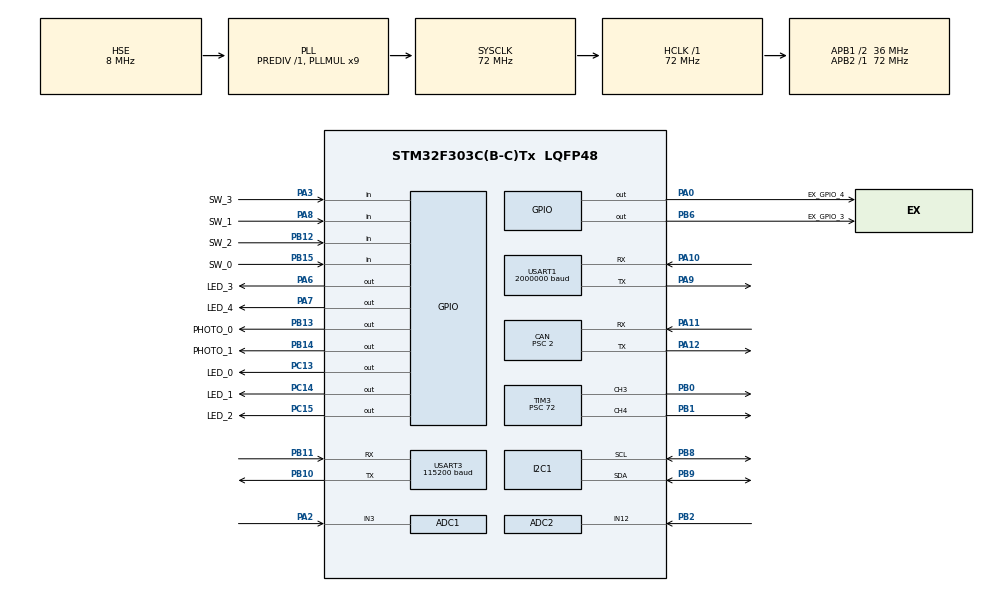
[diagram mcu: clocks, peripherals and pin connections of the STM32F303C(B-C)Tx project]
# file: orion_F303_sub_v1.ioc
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ADC1.Channel-0\#ChannelRegularConversion=ADC_CHANNEL_3
ADC1.ContinuousConvMode=ENABLE
ADC1.NbrOfConversionFlag=1
ADC1.Offset-0\#ChannelRegularConversion=0
ADC1.OffsetNumber-0\#ChannelRegularConversion=ADC_OFFSET_NONE
ADC1.Rank-0\#ChannelRegularConversion=1
ADC1.SamplingTime-0\#ChannelRegularConversion=ADC_SAMPLETIME_181CYCLES_5
ADC1.SamplingTimeOPAMP-0\#ChannelRegularConversion=ADC_SAMPLETIME_61CYCLES_5
ADC1.master=1
ADC2.Channel-0\#ChannelRegularConversion=ADC_CHANNEL_12
ADC2.ContinuousConvMode=ENABLE
ADC2.NbrOfConversionFlag=1
ADC2.Offset-0\#ChannelRegularConversion=0
ADC2.OffsetNumber-0\#ChannelRegularConversion=ADC_OFFSET_NONE
ADC2.Rank-0\#ChannelRegularConversion=1
ADC2.SamplingTime-0\#ChannelRegularConversion=ADC_SAMPLETIME_181CYCLES_5
ADC2.SamplingTimeOPAMP-0\#ChannelRegularConversion=ADC_SAMPLETIME_61CYCLES_5
CAN.BS1=CAN_BS1_9TQ
CAN.BS2=CAN_BS2_8TQ
CAN.CalculateBaudRate=1000000
CAN.CalculateTimeBit=1000
CAN.CalculateTimeQuantum=55.55555555555556
CAN.NART=ENABLE
CAN.Prescaler=2
Dma.Request0=USART1_TX
Dma.USART1_TX.0.Direction=DMA_MEMORY_TO_PERIPH
Dma.USART1_TX.0.Instance=DMA1_Channel4
Dma.USART1_TX.0.MemDataAlignment=DMA_MDATAALIGN_BYTE
Dma.USART1_TX.0.MemInc=DMA_MINC_ENABLE
Dma.USART1_TX.0.Mode=DMA_NORMAL
Dma.USART1_TX.0.PeriphDataAlignment=DMA_PDATAALIGN_BYTE
Dma.USART1_TX.0.PeriphInc=DMA_PINC_DISABLE
Dma.USART1_TX.0.Priority=DMA_PRIORITY_LOW
Mcu.Family=STM32F3
Mcu.Name=STM32F303C(B-C)Tx
Mcu.Package=LQFP48
NVIC.DMA1_Channel4_IRQn=true\:0\:0\:false\:false\:true\:false\:true\:true
NVIC.PriorityGroup=NVIC_PRIORITYGROUP_4
NVIC.TIM1_TRG_COM_TIM17_IRQn=true\:0\:0\:false\:false\:true\:true\:true\:true
NVIC.USART1_IRQn=true\:0\:0\:false\:false\:true\:true\:true\:true
NVIC.USART3_IRQn=true\:0\:0\:false\:false\:true\:true\:true\:true
NVIC.USB_LP_CAN_RX0_IRQn=true\:0\:0\:false\:false\:true\:true\:true\:true
PA0.GPIO_Label=EX_GPIO_4
PA0.Signal=GPIO_Output
PA10.GPIO_PuPd=GPIO_PULLUP
PA10.Mode=Asynchronous
PA10.Signal=USART1_RX
PA11.Mode=CAN_Activate
PA11.Signal=CAN_RX
PA12.Mode=CAN_Activate
PA12.Signal=CAN_TX
PA13.Mode=Serial_Wire
PA13.Signal=SYS_JTMS-SWDIO
PA14.Mode=Serial_Wire
PA14.Signal=SYS_JTCK-SWCLK
PA2.Mode=IN3-Single-Ended
PA2.Signal=ADC1_IN3
PA3.GPIO_Label=SW_3
PA3.GPIO_PuPd=GPIO_PULLUP
PA3.Signal=GPIO_Input
PA6.GPIO_Label=LED_3
PA6.Signal=GPIO_Output
PA7.GPIO_Label=LED_4
PA7.Signal=GPIO_Output
PA8.GPIO_Label=SW_1
PA8.GPIO_PuPd=GPIO_PULLUP
PA8.Signal=GPIO_Input
PA9.Mode=Asynchronous
PA9.Signal=USART1_TX
PB0.Signal=S_TIM3_CH3
PB1.Signal=S_TIM3_CH4
PB10.Mode=Asynchronous
PB10.Signal=USART3_TX
PB11.GPIO_PuPd=GPIO_PULLUP
PB11.Mode=Asynchronous
PB11.Signal=USART3_RX
PB12.GPIO_Label=SW_2
PB12.GPIO_PuPd=GPIO_PULLUP
PB12.Signal=GPIO_Input
PB13.GPIO_Label=PHOTO_0
PB13.Signal=GPIO_Output
PB14.GPIO_Label=PHOTO_1
PB14.Signal=GPIO_Output
PB15.GPIO_Label=SW_0
PB15.GPIO_PuPd=GPIO_PULLUP
PB15.Signal=GPIO_Input
PB2.Mode=IN12-Single-Ended
PB2.Signal=ADC2_IN12
PB6.GPIO_Label=EX_GPIO_3
PB6.Signal=GPIO_Output
PB8.Mode=I2C
PB8.Signal=I2C1_SCL
PB9.Mode=I2C
PB9.Signal=I2C1_SDA
PC13.GPIO_Label=LED_0
PC13.Signal=GPIO_Output
PC14-OSC32_IN.GPIO_Label=LED_1
PC14-OSC32_IN.Signal=GPIO_Output
PC15-OSC32_OUT.GPIO_Label=LED_2
PC15-OSC32_OUT.Signal=GPIO_Output
PF0-OSC_IN.Mode=HSE-External-Oscillator
PF0-OSC_IN.Signal=RCC_OSC_IN
PF1-OSC_OUT.Mode=HSE-External-Oscillator
PF1-OSC_OUT.Signal=RCC_OSC_OUT
ProjectManager.HeapSize=0x200
ProjectManager.StackSize=0x400
ProjectManager.TargetToolchain=STM32CubeIDE
RCC.AHBFreq_Value=72000000
RCC.APB1CLKDivider=RCC_HCLK_DIV2
RCC.APB1Freq_Value=36000000
RCC.APB1TimFreq_Value=72000000
RCC.APB2Freq_Value=72000000
RCC.APB2TimFreq_Value=72000000
RCC.CortexFreq_Value=72000000
RCC.HCLKFreq_Value=72000000
RCC.HSE_VALUE=8000000
RCC.HSI_VALUE=8000000
RCC.LSE_VALUE=32768
RCC.PLLMUL=RCC_PLL_MUL9
RCC.PLLSourceVirtual=RCC_PLLSOURCE_HSE
RCC.SYSCLKFreq_VALUE=72000000
RCC.SYSCLKSourceVirtual=RCC_SYSCLKSOURCE_PLLCLK
RCC.USBFreq_Value=72000000
SH.S_TIM3_CH3.0=TIM3_CH3,PWM Generation3 CH3
SH.S_TIM3_CH4.0=TIM3_CH4,PWM Generation4 CH4
TIM17.Period=500
TIM17.Prescaler=72
TIM3.Channel-PWM\ Generation3\ CH3=TIM_CHANNEL_3
TIM3.Channel-PWM\ Generation4\ CH4=TIM_CHANNEL_4
TIM3.Period=20000
TIM3.Prescaler=72
TIM3.Pulse-PWM\ Generation3\ CH3=15000
TIM3.Pulse-PWM\ Generation4\ CH4=15000
USART1.BaudRate=2000000
USART1.VirtualMode-Asynchronous=VM_ASYNC
USART3.BaudRate=115200
USART3.VirtualMode-Asynchronous=VM_ASYNC
USART3.VirtualMode-Half_duplex(single_wire_mode)=VM_ASYNC
VP_TIM17_VS_ClockSourceINT.Mode=Enable_Timer
board=custom

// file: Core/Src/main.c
/* USER CODE BEGIN Header */
/**
 ******************************************************************************
 * @file           : main.c
 * @brief          : Main program body
 ******************************************************************************
 * @attention
 *
 * Copyright (c) 2023 STMicroelectronics.
 * All rights reserved.
 *
 * This software is licensed under terms that can be found in the LICENSE file
 * in the root directory of this software component.
 * If no LICENSE file comes with this software, it is provided AS-IS.
 *
 ******************************************************************************
 */
/* USER CODE END Header */
#include "main.h"

#include "adc.h"
#include "can.h"
#include "dma.h"
#include "gpio.h"
#include "i2c.h"
#include "tim.h"
#include "usart.h"

/* USER CODE BEGIN Includes */
#include <stdbool.h>
#include <stdint.h>
#include <stdio.h>
#include <string.h>
#include "fw_version.h"
/* USER CODE END Includes */

/* USER CODE BEGIN PTD */

#include "lcd.h"

/* USER CODE END PTD */

/* USER CODE BEGIN PV */
const fw_version_t g_fw_version __attribute__((section(".fw_version"), used)) = {FW_VERSION_MAGIC, 0U};
#define BALL_DETECTOR_THRESH (2000)

#define USER_SW_SERVO_PULSE_WITDH (500)
#define USER_SW_ESC_PULSE_WITDH (300)

#define SERVO_CENTOR_OFFSET (100)

/* USER CODE END PV */

void SystemClock_Config(void);
/* USER CODE BEGIN PFP */
struct
{
  uint8_t header;
  int16_t head_1;
  int16_t head_2;
  int16_t head_3;
  int16_t speed;
  uint8_t sum;
} tlm_msg;
volatile int16_t tmp = 0;
volatile uint32_t tlm_rx_idx = 0;

void parseTelemetryCmt(uint8_t rx_data)
{
  switch (tlm_rx_idx) {
    case 0:
      if (rx_data == 0x2c || rx_data == 0x2d) {
        tlm_rx_idx++;
      }
      break;
    case 1:
      tmp = rx_data << 8;
      tlm_rx_idx++;
      break;
    case 2:
      tmp |= rx_data;
      tlm_msg.head_1 = tmp;
      tlm_rx_idx++;
      break;

    case 3:
      tmp = rx_data << 8;
      tlm_rx_idx++;
      break;
    case 4:
      tmp |= rx_data;
      tlm_msg.head_2 = tmp;
      tlm_rx_idx++;
      break;

    case 5:
      tmp = rx_data << 8;
      tlm_rx_idx++;
      break;
    case 6:
      tmp |= rx_data;
      tlm_msg.head_3 = tmp;
      tlm_rx_idx++;
      break;

    case 7:
      tmp = rx_data << 8;
      tlm_rx_idx++;
      break;
    case 8:
      tmp |= rx_data;
      tlm_msg.speed = tmp;
      tlm_rx_idx++;
      break;

    case 9:
      tlm_msg.sum = rx_data;
      tlm_rx_idx = 0;
      break;

    default:
      tlm_rx_idx = 0;
      break;
  }
}
/* USER CODE END PFP */

/* USER CODE BEGIN 0 */

int _write(int file, char * ptr, int len)
{
  HAL_UART_Transmit_DMA(&huart1, (uint8_t *)ptr, len);  // 2ms
  return len;
}

#define ESC_TLM_BUF_SIZE (100)
uint8_t uart_rx_buf[10] = {0};
uint8_t uart3_rx_buf[10] = {0}, esc_tlm_buf[ESC_TLM_BUF_SIZE];
volatile bool uart_rx_flag = false, uart3_rx_flag = false;
volatile uint32_t uart_rx_cnt = 0, uart3_rx_cnt = 0;

void HAL_UART_RxCpltCallback(UART_HandleTypeDef * huart)
{
  if (huart->Instance == USART1) {
    uart_rx_flag = true;
    uart_rx_cnt++;
    HAL_UART_Receive_IT(&huart1, uart_rx_buf, 1);
  } else if (huart->Instance == USART3) {
    uart3_rx_flag = true;
    esc_tlm_buf[uart3_rx_cnt] = uart3_rx_buf[0];
    uart3_rx_cnt++;
    parseTelemetryCmt(uart3_rx_buf[0]);
    HAL_UART_Receive_IT(&huart3, uart3_rx_buf, 1);
  }
}

volatile float serv_angle = 0, dribbler_speed = 0;
volatile int servo_timeout_cnt = 0, dribbler_timeout_cnt = 0;
volatile float battery_voltage = 0;
volatile uint32_t can_rx_cnt = 0;
static volatile bool firmware_update_requested = false;
void HAL_CAN_RxFifo0MsgPendingCallback(CAN_HandleTypeDef * hcan)
{
  can_msg_buf_t can_rx_buf;
  CAN_RxHeaderTypeDef can_rx_header;
  if (HAL_CAN_GetRxMessage(hcan, CAN_RX_FIFO0, &can_rx_header, can_rx_buf.data) != HAL_OK) {
    /* Reception Error */
    Error_Handler();
  }

  can_rx_cnt++;
  if (can_rx_header.StdId == 0x611U && can_rx_header.DLC == 8U && can_rx_buf.data[0] == 4U) {
    can_msg_buf_t reply = {0};
    const uint32_t image_crc = *(const uint32_t *)(UINT32_C(0x0801F800) + 28U);
    const uint32_t build_id = fw_version_build_id();
    memcpy(&reply.data[0], &build_id, sizeof(uint32_t));
    memcpy(&reply.data[4], &image_crc, sizeof(uint32_t));
    can_send(0x664U, reply);
    return;
  }
  if (can_rx_header.StdId == 0x600U && can_rx_header.DLC == 8U &&
      memcmp(can_rx_buf.data, "OFWUP", 5U) == 0 && can_rx_buf.data[5] == 4U) {
    firmware_update_requested = true;
    return;
  }
  switch (can_rx_header.StdId) {
    case 0x104:
      dribbler_timeout_cnt = 0;
      dribbler_speed = can_rx_buf.speed;
      break;

    case 0x105:
      servo_timeout_cnt = 0;
      serv_angle = can_rx_buf.speed;
      break;

    case 0x300:
      break;
    default:
      break;
  }
}

int32_t ball_detect[2] = {0, 0};

static void enter_firmware_update(void)
{
  HAL_TIM_Base_Stop_IT(&htim17);
  HAL_TIM_PWM_Stop(&htim3, TIM_CHANNEL_3);
  HAL_TIM_PWM_Stop(&htim3, TIM_CHANNEL_4);
  htim3.Instance->CCR3 = 0U;
  htim3.Instance->CCR4 = 0U;
  HAL_GPIO_WritePin(GPIOB, GPIO_PIN_0 | GPIO_PIN_1, GPIO_PIN_RESET);
  HAL_CAN_Stop(&hcan);
  HAL_FLASH_Unlock();
  FLASH_EraseInitTypeDef erase = {0};
  uint32_t page_error = 0U;
  erase.TypeErase = FLASH_TYPEERASE_PAGES;
  erase.PageAddress = 0x0801F800U;
  erase.NbPages = 1U;
  if (HAL_FLASHEx_Erase(&erase, &page_error) != HAL_OK) {
    HAL_FLASH_Lock();
    Error_Handler();
  }
  HAL_FLASH_Lock();
  NVIC_SystemReset();
}

void ball_sensor(void)
{
  static can_msg_buf_t ball_msg, voltage_msg, speed_msg;

  static int32_t ball_detect_process = 0;
  static int32_t adc_raw[3];

  bool ball_detected[2];

  switch (ball_detect_process) {
    case 0:
      HAL_GPIO_WritePin(PHOTO_0_GPIO_Port, PHOTO_0_Pin, GPIO_PIN_RESET);
      HAL_GPIO_WritePin(PHOTO_1_GPIO_Port, PHOTO_1_Pin, GPIO_PIN_SET);
      adc_raw[0] = HAL_ADC_GetValue(&hadc2);
      ball_detect_process++;

      speed_msg.speed = tlm_msg.speed;
      can_send(0x204, speed_msg);
      break;

    case 1:
      HAL_GPIO_WritePin(PHOTO_0_GPIO_Port, PHOTO_0_Pin, GPIO_PIN_SET);
      HAL_GPIO_WritePin(PHOTO_1_GPIO_Port, PHOTO_1_Pin, GPIO_PIN_RESET);

      adc_raw[1] = HAL_ADC_GetValue(&hadc2);

      ball_detect_process++;
      battery_voltage = battery_voltage * 0.9 + (HAL_ADC_GetValue(&hadc1) * 36.3 / 4096) * 0.1;
      voltage_msg.voltage = battery_voltage;
      can_send(0x214, voltage_msg);
      break;

    case 2:

      HAL_GPIO_WritePin(PHOTO_0_GPIO_Port, PHOTO_0_Pin, GPIO_PIN_RESET);
      HAL_GPIO_WritePin(PHOTO_1_GPIO_Port, PHOTO_1_Pin, GPIO_PIN_RESET);

      adc_raw[2] = HAL_ADC_GetValue(&hadc2);

      ball_detect[0] = adc_raw[0] - adc_raw[1];
      ball_detect[1] = adc_raw[0] - adc_raw[2];

      if (HAL_GPIO_ReadPin(SW_2_GPIO_Port, SW_2_Pin) == GPIO_PIN_RESET) {
        ball_detect[0] = 0;
        ball_detect[1] = 0;
      }

      //
      if (ball_detect[1] < BALL_DETECTOR_THRESH) {
        ball_detected[0] = true;
        HAL_GPIO_WritePin(LED_3_GPIO_Port, LED_3_Pin, GPIO_PIN_SET);
      } else {
        ball_detected[0] = false;
        HAL_GPIO_WritePin(LED_3_GPIO_Port, LED_3_Pin, GPIO_PIN_RESET);
      }
      if (ball_detect[0] < BALL_DETECTOR_THRESH) {
        ball_detected[1] = true;
        HAL_GPIO_WritePin(LED_4_GPIO_Port, LED_4_Pin, GPIO_PIN_SET);
      } else {
        ball_detected[1] = false;
        HAL_GPIO_WritePin(LED_4_GPIO_Port, LED_4_Pin, GPIO_PIN_RESET);
      }

      if (ball_detected[0]) {
        ball_msg.data[0] = 1;
        ball_msg.data[1] = 0;
      } else if (ball_detected[1]) {
        ball_msg.data[0] = 1;
        ball_msg.data[1] = 5;
      } else {
        ball_msg.data[0] = 0;
        ball_msg.data[1] = 0;
      }

      can_send(0x240, ball_msg);

      ball_detect_process = 0;
      break;

    default:
      ball_detect_process = 0;
      break;
  }
}

// 2kHz cycle
void HAL_TIM_PeriodElapsedCallback(TIM_HandleTypeDef * htim)
{
  static uint32_t print_interval = 0;
  ball_sensor();

  print_interval++;
  if (print_interval >= 200) {
    print_interval = 0;
    printf(
      "\e[0mbatt %4.1f spd %4d Mbx %ld can rx %3ld uart rx %4ld %4ld dribbler %6.3f servo %6.3f timeout %4d %4d ball %+5ld %+5ld %d%d \n", battery_voltage, tlm_msg.speed,
      HAL_CAN_GetTxMailboxesFreeLevel(&hcan), can_rx_cnt, uart_rx_cnt, uart3_rx_cnt, dribbler_speed, serv_angle, dribbler_timeout_cnt, servo_timeout_cnt, ball_detect[0], ball_detect[1], uart3_rx_flag,
      uart_rx_flag);

    if (HAL_GPIO_ReadPin(SW_3_GPIO_Port, SW_3_Pin) == GPIO_PIN_RESET) {
      lcdPrint(&hi2c1, battery_voltage, can_rx_cnt, ball_detect[0], ball_detect[1]);
    }

    // TEL (LED0,PA3)
    if (uart3_rx_cnt > 0) {
      HAL_GPIO_WritePin(LED_1_GPIO_Port, LED_1_Pin, GPIO_PIN_SET);
    } else {
      HAL_GPIO_WritePin(LED_1_GPIO_Port, LED_1_Pin, GPIO_PIN_RESET);
    }

    // RX (can rx,LED2,PA5)
    if (can_rx_cnt > 0) {
      HAL_GPIO_WritePin(LED_2_GPIO_Port, LED_2_Pin, GPIO_PIN_SET);
    } else {
      HAL_GPIO_WritePin(LED_2_GPIO_Port, LED_2_Pin, GPIO_PIN_RESET);
    }

    if (dribbler_speed != 0) {
      HAL_GPIO_WritePin(LED_0_GPIO_Port, LED_0_Pin, GPIO_PIN_SET);
    } else {
      HAL_GPIO_WritePin(LED_0_GPIO_Port, LED_0_Pin, GPIO_PIN_RESET);
    }

    can_rx_cnt = 0;
    uart_rx_cnt = 0;
    uart3_rx_cnt = 0;

    if (HAL_GPIO_ReadPin(SW_0_GPIO_Port, SW_0_Pin) == GPIO_PIN_SET) {
      htim3.Instance->CCR3 = 1500 + 600 * dribbler_speed;  // esc
    } else {
      htim3.Instance->CCR3 = 1500 + USER_SW_ESC_PULSE_WITDH;  // esc
    }

    if (HAL_GPIO_ReadPin(SW_1_GPIO_Port, SW_1_Pin) == GPIO_PIN_SET) {
      htim3.Instance->CCR4 = 1500 - 600 * serv_angle + SERVO_CENTOR_OFFSET;  // servo
    } else {
      htim3.Instance->CCR4 = 1500 - USER_SW_SERVO_PULSE_WITDH + SERVO_CENTOR_OFFSET;  // servo
    }

    dribbler_timeout_cnt++;
    servo_timeout_cnt++;
    if (dribbler_timeout_cnt > 50) {
      dribbler_speed = 0;
    }
    if (servo_timeout_cnt > 50) {
      serv_angle = 0;
    }
  }
}

/* USER CODE END 0 */

int main(void)
{

  /* MCU Configuration--------------------------------------------------------*/

  /* Reset of all peripherals, Initializes the Flash interface and the Systick. */
  HAL_Init();

  /* Configure the system clock */
  SystemClock_Config();

  /* Initialize all configured peripherals */
  MX_GPIO_Init();
  MX_DMA_Init();
  MX_CAN_Init();
  MX_USART1_UART_Init();
  MX_USART3_UART_Init();
  MX_TIM3_Init();
  MX_ADC2_Init();
  MX_ADC1_Init();
  MX_TIM17_Init();
  MX_I2C1_Init();
  /* USER CODE BEGIN 2 */
  printf("start sub board !! %s %s\n", __DATE__, __TIME__);
  HAL_UART_Receive_IT(&huart3, uart3_rx_buf, 1);
  HAL_UART_Receive_IT(&huart1, uart_rx_buf, 1);

  lcdInit(&hi2c1);

  CAN_Filter_Init();
  HAL_CAN_Start(&hcan);

  HAL_TIM_Base_Start_IT(&htim17);

  HAL_TIM_PWM_Init(&htim3);
  HAL_TIM_PWM_Start(&htim3, TIM_CHANNEL_3);
  HAL_TIM_PWM_Start(&htim3, TIM_CHANNEL_4);
  htim3.Instance->CCR3 = 0;
  htim3.Instance->CCR4 = 0;
  servo_timeout_cnt = 0;
  dribbler_timeout_cnt = 0;

  if (HAL_ADCEx_Calibration_Start(&hadc1, ADC_SINGLE_ENDED) != HAL_OK) {
    /* Calibration Error */
    Error_Handler();
  }
  if (HAL_ADCEx_Calibration_Start(&hadc2, ADC_SINGLE_ENDED) != HAL_OK) {
    /* Calibration Error */
    Error_Handler();
  }

  HAL_ADC_Start(&hadc1);
  HAL_ADC_Start(&hadc2);

  /* USER CODE END 2 */

  /* Infinite loop */
  while (1) {

    /* USER CODE BEGIN 3 */
    if (firmware_update_requested) {
      enter_firmware_update();
    }
  }
  /* USER CODE END 3 */
}

void SystemClock_Config(void)
{
  RCC_OscInitTypeDef RCC_OscInitStruct = {0};
  RCC_ClkInitTypeDef RCC_ClkInitStruct = {0};
  RCC_PeriphCLKInitTypeDef PeriphClkInit = {0};

  /** Initializes the RCC Oscillators according to the specified parameters
  * in the RCC_OscInitTypeDef structure.
  */
  RCC_OscInitStruct.OscillatorType = RCC_OSCILLATORTYPE_HSI | RCC_OSCILLATORTYPE_HSE;
  RCC_OscInitStruct.HSEState = RCC_HSE_ON;
  RCC_OscInitStruct.HSEPredivValue = RCC_HSE_PREDIV_DIV1;
  RCC_OscInitStruct.HSIState = RCC_HSI_ON;
  RCC_OscInitStruct.HSICalibrationValue = RCC_HSICALIBRATION_DEFAULT;
  RCC_OscInitStruct.PLL.PLLState = RCC_PLL_ON;
  RCC_OscInitStruct.PLL.PLLSource = RCC_PLLSOURCE_HSE;
  RCC_OscInitStruct.PLL.PLLMUL = RCC_PLL_MUL9;
  if (HAL_RCC_OscConfig(&RCC_OscInitStruct) != HAL_OK) {
    Error_Handler();
  }

  /** Initializes the CPU, AHB and APB buses clocks
  */
  RCC_ClkInitStruct.ClockType = RCC_CLOCKTYPE_HCLK | RCC_CLOCKTYPE_SYSCLK | RCC_CLOCKTYPE_PCLK1 | RCC_CLOCKTYPE_PCLK2;
  RCC_ClkInitStruct.SYSCLKSource = RCC_SYSCLKSOURCE_PLLCLK;
  RCC_ClkInitStruct.AHBCLKDivider = RCC_SYSCLK_DIV1;
  RCC_ClkInitStruct.APB1CLKDivider = RCC_HCLK_DIV2;
  RCC_ClkInitStruct.APB2CLKDivider = RCC_HCLK_DIV1;

  if (HAL_RCC_ClockConfig(&RCC_ClkInitStruct, FLASH_LATENCY_2) != HAL_OK) {
    Error_Handler();
  }
  PeriphClkInit.PeriphClockSelection = RCC_PERIPHCLK_USART1 | RCC_PERIPHCLK_USART3 | RCC_PERIPHCLK_I2C1 | RCC_PERIPHCLK_ADC12;
  PeriphClkInit.Usart1ClockSelection = RCC_USART1CLKSOURCE_PCLK2;
  PeriphClkInit.Usart3ClockSelection = RCC_USART3CLKSOURCE_PCLK1;
  PeriphClkInit.Adc12ClockSelection = RCC_ADC12PLLCLK_DIV1;
  PeriphClkInit.I2c1ClockSelection = RCC_I2C1CLKSOURCE_HSI;
  if (HAL_RCCEx_PeriphCLKConfig(&PeriphClkInit) != HAL_OK) {
    Error_Handler();
  }
}

void Error_Handler(void)
{
  __disable_irq();
  while (1) {
  }
}
